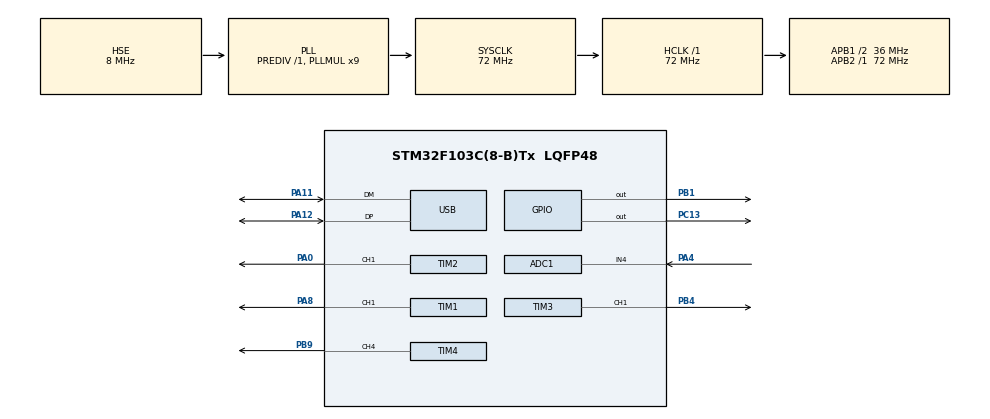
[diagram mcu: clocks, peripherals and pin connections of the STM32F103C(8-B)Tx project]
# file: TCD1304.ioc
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ADC1.Channel-0\#ChannelRegularConversion=ADC_CHANNEL_4
ADC1.ExternalTrigConv=ADC_EXTERNALTRIGCONV_T4_CC4
ADC1.NbrOfConversion=1
ADC1.NbrOfConversionFlag=1
ADC1.Rank-0\#ChannelRegularConversion=1
ADC1.SamplingTime-0\#ChannelRegularConversion=ADC_SAMPLETIME_1CYCLE_5
ADC1.master=1
Dma.ADC1.0.Direction=DMA_PERIPH_TO_MEMORY
Dma.ADC1.0.Instance=DMA1_Channel1
Dma.ADC1.0.MemDataAlignment=DMA_MDATAALIGN_HALFWORD
Dma.ADC1.0.MemInc=DMA_MINC_ENABLE
Dma.ADC1.0.Mode=DMA_CIRCULAR
Dma.ADC1.0.PeriphDataAlignment=DMA_PDATAALIGN_HALFWORD
Dma.ADC1.0.PeriphInc=DMA_PINC_DISABLE
Dma.ADC1.0.Priority=DMA_PRIORITY_LOW
Dma.Request0=ADC1
Mcu.Family=STM32F1
Mcu.Name=STM32F103C(8-B)Tx
Mcu.Package=LQFP48
NVIC.DMA1_Channel1_IRQn=true\:0\:0\:false\:false\:true\:false\:true\:true
NVIC.PriorityGroup=NVIC_PRIORITYGROUP_4
NVIC.USB_LP_CAN1_RX0_IRQn=true\:0\:0\:false\:false\:true\:false\:true\:true
PA0-WKUP.Signal=S_TIM2_CH1_ETR
PA11.Mode=Device
PA11.Signal=USB_DM
PA12.Mode=Device
PA12.Signal=USB_DP
PA4.Signal=ADCx_IN4
PA8.Signal=S_TIM1_CH1
PB1.Signal=GPIO_Output
PB4.Signal=S_TIM3_CH1
PB9.Signal=S_TIM4_CH4
PC13-TAMPER-RTC.Signal=GPIO_Output
PD0-OSC_IN.Mode=HSE-External-Oscillator
PD0-OSC_IN.Signal=RCC_OSC_IN
PD1-OSC_OUT.Mode=HSE-External-Oscillator
PD1-OSC_OUT.Signal=RCC_OSC_OUT
ProjectManager.HeapSize=0x200
ProjectManager.StackSize=0x400
ProjectManager.TargetToolchain=STM32CubeIDE
RCC.ADCPresc=RCC_ADCPCLK2_DIV6
RCC.AHBFreq_Value=72000000
RCC.APB1CLKDivider=RCC_HCLK_DIV2
RCC.APB1Freq_Value=36000000
RCC.APB1TimFreq_Value=72000000
RCC.APB2Freq_Value=72000000
RCC.APB2TimFreq_Value=72000000
RCC.HCLKFreq_Value=72000000
RCC.PLLMUL=RCC_PLL_MUL9
RCC.SYSCLKFreq_VALUE=72000000
RCC.SYSCLKSource=RCC_SYSCLKSOURCE_PLLCLK
RCC.USBFreq_Value=48000000
RCC.USBPrescaler=RCC_USBCLKSOURCE_PLL_DIV1_5
SH.ADCx_IN4.0=ADC1_IN4,IN4
SH.S_TIM1_CH1.0=TIM1_CH1,PWM Generation1 CH1
SH.S_TIM2_CH1_ETR.0=TIM2_CH1,PWM Generation1 CH1
SH.S_TIM3_CH1.0=TIM3_CH1,PWM Generation1 CH1
SH.S_TIM4_CH4.0=TIM4_CH4,PWM Generation4 CH4
TIM1.Channel-PWM\ Generation1\ CH1=TIM_CHANNEL_1
TIM1.Channel-PWM\ Generation2\ No\ Output=TIM_CHANNEL_2
TIM1.OCMode_PWM-PWM\ Generation2\ No\ Output=TIM_OCMODE_PWM1
TIM1.OCPolarity_2=TIM_OCPOLARITY_LOW
TIM1.Period=57600-1
TIM1.Prescaler=10-1
TIM1.Pulse-PWM\ Generation1\ CH1=72
TIM1.TIM_MasterOutputTrigger=TIM_TRGO_OC2REF
TIM2.Channel-PWM\ Generation1\ CH1=TIM_CHANNEL_1
TIM2.OCPolarity_1=TIM_OCPOLARITY_LOW
TIM2.Period=65535
TIM2.Pulse-PWM\ Generation1\ CH1=0
TIM2.TIM_MasterOutputTrigger=TIM_TRGO_OC2REF
TIM3.Channel-PWM\ Generation1\ CH1=TIM_CHANNEL_1
TIM3.Period=36-1
TIM3.Pulse-PWM\ Generation1\ CH1=18
TIM4.Channel-PWM\ Generation4\ CH4=TIM_CHANNEL_4
TIM4.Period=144-1
TIM4.Pulse-PWM\ Generation4\ CH4=1
USB_DEVICE.CLASS_NAME_FS=CDC
USB_DEVICE.VirtualMode=Cdc
USB_DEVICE.VirtualModeFS=Cdc_FS
VP_SYS_VS_ND.Mode=No_Debug
VP_TIM1_VS_ClockSourceINT.Mode=Internal
VP_TIM1_VS_no_output2.Mode=PWM Generation2 No Output
VP_TIM2_VS_ClockSourceINT.Mode=Internal
VP_TIM3_VS_ClockSourceINT.Mode=Internal
VP_TIM4_VS_ClockSourceINT.Mode=Internal
VP_TIM4_VS_ClockSourceITR.Mode=TriggerSource_ITR0
VP_TIM4_VS_ControllerModeGated.Mode=Gated Mode
VP_USB_DEVICE_VS_USB_DEVICE_CDC_FS.Mode=CDC_FS
board=custom

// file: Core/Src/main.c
/* USER CODE BEGIN Header */
/**
  ******************************************************************************
  * @file           : main.c
  * @brief          : Main program body
  ******************************************************************************
  * @attention
  *
  * Copyright (c) 2026 STMicroelectronics.
  * All rights reserved.
  *
  * This software is licensed under terms that can be found in the LICENSE file
  * in the root directory of this software component.
  * If no LICENSE file comes with this software, it is provided AS-IS.
  *
  ******************************************************************************
  */
/* USER CODE END Header */
#include "main.h"
#include "usb_device.h"

/* USER CODE BEGIN Includes */
#include "usbd_cdc_if.h"
/* USER CODE END Includes */

/* USER CODE BEGIN PD */
#define TIM_FREQ		72000000

/*Integration Times*/
//#define T_INT_20US
//#define T_INT_100US
//#define T_INT_500US
//#define T_INT_1MS
//#define T_INT_2MS
#define T_INT_4MS
//#define T_INT_5MS
//#define T_INT_10MS

#define CCD_PIXEL_COUNT	4000
/* USER CODE END PD */

ADC_HandleTypeDef hadc1;
DMA_HandleTypeDef hdma_adc1;

TIM_HandleTypeDef htim1;
TIM_HandleTypeDef htim2;
TIM_HandleTypeDef htim3;
TIM_HandleTypeDef htim4;

/* USER CODE BEGIN PV */
uint16_t ADC_Raw[CCD_PIXEL_COUNT];
uint8_t startByte = 'S';
uint8_t stopByte = 'F';
volatile uint8_t data_ready = 0;						//Flag to be set after all pixels are converted
uint16_t bytesToSend = CCD_PIXEL_COUNT * 2;
uint8_t *dataPtr = (uint8_t*)ADC_Raw;
/* USER CODE END PV */

void SystemClock_Config(void);
static void MX_GPIO_Init(void);
static void MX_DMA_Init(void);
static void MX_ADC1_Init(void);
static void MX_TIM1_Init(void);
static void MX_TIM2_Init(void);
static void MX_TIM3_Init(void);
static void MX_TIM4_Init(void);

/* USER CODE BEGIN 0 */
void HAL_ADC_ConvCpltCallback(ADC_HandleTypeDef* hadc){
	data_ready = 1;
	HAL_GPIO_TogglePin(GPIOB, GPIO_PIN_1);
}
/* USER CODE END 0 */

int main(void)
{

  /* MCU Configuration--------------------------------------------------------*/

  /* Reset of all peripherals, Initializes the Flash interface and the Systick. */
  HAL_Init();

  /* Configure the system clock */
  SystemClock_Config();

  /* Initialize all configured peripherals */
  MX_GPIO_Init();
  MX_DMA_Init();
  MX_ADC1_Init();
  MX_TIM1_Init();
  MX_TIM2_Init();
  MX_TIM3_Init();
  MX_USB_DEVICE_Init();
  MX_TIM4_Init();
  /* USER CODE BEGIN 2 */

  /*Integration times*/
#ifdef T_INT_20US
	  TIM2->ARR = TIM_FREQ / 100000 / (TIM2->PSC + 1) * 2 - 1;
	  TIM2->CCR1 = (TIM2->ARR + 1) / 5;							//288
#endif

#ifdef T_INT_100US
  TIM2->ARR = TIM_FREQ / 10000 / (TIM2->PSC + 1) - 1;
  TIM2->CCR1 = (TIM2->ARR + 1) / 25;							//288
#endif

#ifdef T_INT_500US
  TIM2->ARR = TIM_FREQ / 10000 / (TIM2->PSC + 1) * 5 - 1;		//36000-1
  TIM2->CCR1 = (TIM2->ARR + 1) / 125;							//288
#endif

#ifdef T_INT_1MS
  TIM2->PSC = 1;											    //2 - 1
  TIM2->ARR = TIM_FREQ / 1000 / (TIM2->PSC + 1) - 1;			//36000 - 1
  TIM2->CCR1 = (TIM2->ARR + 1) / 250;
  TIM2->CCR2 = 336;
  TIM2->EGR |= TIM_EGR_UG;										//Timer Update
#endif

#ifdef T_INT_2MS
  TIM2->PSC = 2;											    //3 - 1
  TIM2->ARR = 47999;											//48000 - 1
  TIM2->CCR1 = 96;
  TIM2->CCR2 = 224;
  TIM2->EGR |= TIM_EGR_UG;										//Timer Update
#endif

#ifdef T_INT_4MS
  //Configure MCLK (0.8 Mhz)
  TIM3->ARR = 89;												//90 - 1
  TIM3->CCR1 = 45;												//50% duty cycle

  //Configure ICG (20 ms period)
  TIM1->PSC = 23;												//24 - 1
  TIM1->ARR = 59999;											//60000 - 1
  TIM1->CCR1 = 30;												//10 us
  TIM1->CCR2 = 30;												//Gates TIM4
  TIM1->EGR |= TIM_EGR_UG;

  //Configure SH (4 ms period)
  TIM2->PSC = 8;											    //9 - 1
  TIM2->ARR = 31999;											//32000 - 1
  TIM2->CCR1 = 32;												//4 us
  TIM2->EGR |= TIM_EGR_UG;										//Timer Update
  TIM2->CNT = 31999 - 4;

  //Configure ADC Trigger Timer (Data rate = 0.2 Mhz)
  TIM4->ARR = 359;												//360 - 1
  TIM4->CCR4 = 180;
#endif

#ifdef T_INT_5MS
  //Configure MCLK (0.8 Mhz)
  TIM3->ARR = 89;												//90 - 1
  TIM3->CCR1 = 45;												//50% duty cycle

  //Configure ICG (20 ms period)
  TIM1->PSC = 23;												//24 - 1
  TIM1->ARR = 59999;											//60000 - 1
  TIM1->CCR1 = 30;												//10 us
  TIM1->CCR2 = 2;												//667 ns delay between ICG and SH
  TIM1->EGR |= TIM_EGR_UG;

  //Configure SH (5 ms)
  TIM2->PSC = 5;												//6 - 1
  TIM2->ARR = 59999;											//60000 - 1
  TIM2->CCR1 = 48;												//4 us
  TIM2->CCR2 = 86;
  TIM2->EGR |= TIM_EGR_UG;										//Timer Update

  //Configure ADC Trigger Timer (Data rate = 0.2 Mhz)
  TIM4->ARR = 359;												//360 - 1
  TIM4->CCR4 = 180;
#endif

#ifdef T_INT_10MS
  //Configure MCLK (0.8 Mhz)
  TIM3->ARR = 89;												//90 - 1
  TIM3->CCR1 = 45;												//50% duty cycle

  //Configure ICG (20 ms period)
  TIM1->PSC = 23;												//24 - 1
  TIM1->ARR = 59999;											//60000 - 1
  TIM1->CCR1 = 30;												//10 us
  TIM1->CCR2 = 2;												//667 ns delay between ICG and SH
  TIM1->EGR |= TIM_EGR_UG;

  //Configure SH (10 ms)
  TIM2->PSC = 11;												//12 - 1
  TIM2->ARR = 59999;											//60000 - 1
  TIM2->CCR1 = 24;												//4 us
  TIM2->CCR2 = 43;												//TRIG for TIM4
  TIM2->EGR |= TIM_EGR_UG;										//Timer Update

  //Configure ADC Trigger Timer (Data rate = 0.2 Mhz)
  TIM4->ARR = 359;												//360 - 1
  TIM4->CCR4 = 180;
#endif

  HAL_ADC_Start_DMA(&hadc1, (uint32_t*)ADC_Raw, CCD_PIXEL_COUNT);

  HAL_TIM_PWM_Start(&htim4, TIM_CHANNEL_4);		//ADC

  HAL_TIM_PWM_Start(&htim3, TIM_CHANNEL_1);		//MCLK

  HAL_TIM_PWM_Start(&htim1, TIM_CHANNEL_1);		//ICG

  HAL_TIM_PWM_Start(&htim2, TIM_CHANNEL_1);		//SH

  HAL_TIM_PWM_Start(&htim1, TIM_CHANNEL_2);		//GATES TIM4

  /* USER CODE END 2 */

  /* Infinite loop */
  while (1)
  {

    /* USER CODE BEGIN 3 */
	  if(data_ready){

		  bytesToSend = CCD_PIXEL_COUNT * 2;
		  dataPtr = (uint8_t*)ADC_Raw;

		  while(CDC_Transmit_FS(&startByte, 1) == USBD_BUSY);

		  while(bytesToSend > CDC_DATA_FS_MAX_PACKET_SIZE) {
			  while(CDC_Transmit_FS(dataPtr, CDC_DATA_FS_MAX_PACKET_SIZE) == USBD_BUSY);
			  bytesToSend -= CDC_DATA_FS_MAX_PACKET_SIZE;
			  dataPtr += CDC_DATA_FS_MAX_PACKET_SIZE;
		  }

		  if (bytesToSend) {
			  while(CDC_Transmit_FS(dataPtr, bytesToSend) == USBD_BUSY);
		  }

		  while(CDC_Transmit_FS(&stopByte, 1) == USBD_BUSY);

		  data_ready = 0;
	  }
  }
  /* USER CODE END 3 */
}

void SystemClock_Config(void)
{
  RCC_OscInitTypeDef RCC_OscInitStruct = {0};
  RCC_ClkInitTypeDef RCC_ClkInitStruct = {0};
  RCC_PeriphCLKInitTypeDef PeriphClkInit = {0};

  /** Initializes the RCC Oscillators according to the specified parameters
  * in the RCC_OscInitTypeDef structure.
  */
  RCC_OscInitStruct.OscillatorType = RCC_OSCILLATORTYPE_HSE;
  RCC_OscInitStruct.HSEState = RCC_HSE_ON;
  RCC_OscInitStruct.HSEPredivValue = RCC_HSE_PREDIV_DIV1;
  RCC_OscInitStruct.HSIState = RCC_HSI_ON;
  RCC_OscInitStruct.PLL.PLLState = RCC_PLL_ON;
  RCC_OscInitStruct.PLL.PLLSource = RCC_PLLSOURCE_HSE;
  RCC_OscInitStruct.PLL.PLLMUL = RCC_PLL_MUL9;
  if (HAL_RCC_OscConfig(&RCC_OscInitStruct) != HAL_OK)
  {
    Error_Handler();
  }

  /** Initializes the CPU, AHB and APB buses clocks
  */
  RCC_ClkInitStruct.ClockType = RCC_CLOCKTYPE_HCLK|RCC_CLOCKTYPE_SYSCLK
                              |RCC_CLOCKTYPE_PCLK1|RCC_CLOCKTYPE_PCLK2;
  RCC_ClkInitStruct.SYSCLKSource = RCC_SYSCLKSOURCE_PLLCLK;
  RCC_ClkInitStruct.AHBCLKDivider = RCC_SYSCLK_DIV1;
  RCC_ClkInitStruct.APB1CLKDivider = RCC_HCLK_DIV2;
  RCC_ClkInitStruct.APB2CLKDivider = RCC_HCLK_DIV1;

  if (HAL_RCC_ClockConfig(&RCC_ClkInitStruct, FLASH_LATENCY_2) != HAL_OK)
  {
    Error_Handler();
  }
  PeriphClkInit.PeriphClockSelection = RCC_PERIPHCLK_ADC|RCC_PERIPHCLK_USB;
  PeriphClkInit.AdcClockSelection = RCC_ADCPCLK2_DIV6;
  PeriphClkInit.UsbClockSelection = RCC_USBCLKSOURCE_PLL_DIV1_5;
  if (HAL_RCCEx_PeriphCLKConfig(&PeriphClkInit) != HAL_OK)
  {
    Error_Handler();
  }
}

static void MX_ADC1_Init(void)
{

  ADC_ChannelConfTypeDef sConfig = {0};

  /** Common config
  */
  hadc1.Instance = ADC1;
  hadc1.Init.ScanConvMode = ADC_SCAN_DISABLE;
  hadc1.Init.ContinuousConvMode = DISABLE;
  hadc1.Init.DiscontinuousConvMode = DISABLE;
  hadc1.Init.ExternalTrigConv = ADC_EXTERNALTRIGCONV_T4_CC4;
  hadc1.Init.DataAlign = ADC_DATAALIGN_RIGHT;
  hadc1.Init.NbrOfConversion = 1;
  if (HAL_ADC_Init(&hadc1) != HAL_OK)
  {
    Error_Handler();
  }

  /** Configure Regular Channel
  */
  sConfig.Channel = ADC_CHANNEL_4;
  sConfig.Rank = ADC_REGULAR_RANK_1;
  sConfig.SamplingTime = ADC_SAMPLETIME_1CYCLE_5;
  if (HAL_ADC_ConfigChannel(&hadc1, &sConfig) != HAL_OK)
  {
    Error_Handler();
  }

}

static void MX_TIM1_Init(void)
{

  TIM_ClockConfigTypeDef sClockSourceConfig = {0};
  TIM_MasterConfigTypeDef sMasterConfig = {0};
  TIM_OC_InitTypeDef sConfigOC = {0};
  TIM_BreakDeadTimeConfigTypeDef sBreakDeadTimeConfig = {0};

  htim1.Instance = TIM1;
  htim1.Init.Prescaler = 10-1;
  htim1.Init.CounterMode = TIM_COUNTERMODE_UP;
  htim1.Init.Period = 57600-1;
  htim1.Init.ClockDivision = TIM_CLOCKDIVISION_DIV1;
  htim1.Init.RepetitionCounter = 0;
  htim1.Init.AutoReloadPreload = TIM_AUTORELOAD_PRELOAD_DISABLE;
  if (HAL_TIM_Base_Init(&htim1) != HAL_OK)
  {
    Error_Handler();
  }
  sClockSourceConfig.ClockSource = TIM_CLOCKSOURCE_INTERNAL;
  if (HAL_TIM_ConfigClockSource(&htim1, &sClockSourceConfig) != HAL_OK)
  {
    Error_Handler();
  }
  if (HAL_TIM_PWM_Init(&htim1) != HAL_OK)
  {
    Error_Handler();
  }
  sMasterConfig.MasterOutputTrigger = TIM_TRGO_OC2REF;
  sMasterConfig.MasterSlaveMode = TIM_MASTERSLAVEMODE_DISABLE;
  if (HAL_TIMEx_MasterConfigSynchronization(&htim1, &sMasterConfig) != HAL_OK)
  {
    Error_Handler();
  }
  sConfigOC.OCMode = TIM_OCMODE_PWM1;
  sConfigOC.Pulse = 72;
  sConfigOC.OCPolarity = TIM_OCPOLARITY_HIGH;
  sConfigOC.OCNPolarity = TIM_OCNPOLARITY_HIGH;
  sConfigOC.OCFastMode = TIM_OCFAST_DISABLE;
  sConfigOC.OCIdleState = TIM_OCIDLESTATE_RESET;
  sConfigOC.OCNIdleState = TIM_OCNIDLESTATE_RESET;
  if (HAL_TIM_PWM_ConfigChannel(&htim1, &sConfigOC, TIM_CHANNEL_1) != HAL_OK)
  {
    Error_Handler();
  }
  sConfigOC.Pulse = 0;
  sConfigOC.OCPolarity = TIM_OCPOLARITY_LOW;
  if (HAL_TIM_PWM_ConfigChannel(&htim1, &sConfigOC, TIM_CHANNEL_2) != HAL_OK)
  {
    Error_Handler();
  }
  sBreakDeadTimeConfig.OffStateRunMode = TIM_OSSR_DISABLE;
  sBreakDeadTimeConfig.OffStateIDLEMode = TIM_OSSI_DISABLE;
  sBreakDeadTimeConfig.LockLevel = TIM_LOCKLEVEL_OFF;
  sBreakDeadTimeConfig.DeadTime = 0;
  sBreakDeadTimeConfig.BreakState = TIM_BREAK_DISABLE;
  sBreakDeadTimeConfig.BreakPolarity = TIM_BREAKPOLARITY_HIGH;
  sBreakDeadTimeConfig.AutomaticOutput = TIM_AUTOMATICOUTPUT_DISABLE;
  if (HAL_TIMEx_ConfigBreakDeadTime(&htim1, &sBreakDeadTimeConfig) != HAL_OK)
  {
    Error_Handler();
  }
  HAL_TIM_MspPostInit(&htim1);

}

static void MX_TIM2_Init(void)
{

  TIM_ClockConfigTypeDef sClockSourceConfig = {0};
  TIM_MasterConfigTypeDef sMasterConfig = {0};
  TIM_OC_InitTypeDef sConfigOC = {0};

  htim2.Instance = TIM2;
  htim2.Init.Prescaler = 0;
  htim2.Init.CounterMode = TIM_COUNTERMODE_UP;
  htim2.Init.Period = 65535;
  htim2.Init.ClockDivision = TIM_CLOCKDIVISION_DIV1;
  htim2.Init.AutoReloadPreload = TIM_AUTORELOAD_PRELOAD_DISABLE;
  if (HAL_TIM_Base_Init(&htim2) != HAL_OK)
  {
    Error_Handler();
  }
  sClockSourceConfig.ClockSource = TIM_CLOCKSOURCE_INTERNAL;
  if (HAL_TIM_ConfigClockSource(&htim2, &sClockSourceConfig) != HAL_OK)
  {
    Error_Handler();
  }
  if (HAL_TIM_PWM_Init(&htim2) != HAL_OK)
  {
    Error_Handler();
  }
  sMasterConfig.MasterOutputTrigger = TIM_TRGO_OC2REF;
  sMasterConfig.MasterSlaveMode = TIM_MASTERSLAVEMODE_DISABLE;
  if (HAL_TIMEx_MasterConfigSynchronization(&htim2, &sMasterConfig) != HAL_OK)
  {
    Error_Handler();
  }
  sConfigOC.OCMode = TIM_OCMODE_PWM1;
  sConfigOC.Pulse = 0;
  sConfigOC.OCPolarity = TIM_OCPOLARITY_LOW;
  sConfigOC.OCFastMode = TIM_OCFAST_DISABLE;
  if (HAL_TIM_PWM_ConfigChannel(&htim2, &sConfigOC, TIM_CHANNEL_1) != HAL_OK)
  {
    Error_Handler();
  }
  HAL_TIM_MspPostInit(&htim2);

}

static void MX_TIM3_Init(void)
{

  TIM_ClockConfigTypeDef sClockSourceConfig = {0};
  TIM_MasterConfigTypeDef sMasterConfig = {0};
  TIM_OC_InitTypeDef sConfigOC = {0};

  htim3.Instance = TIM3;
  htim3.Init.Prescaler = 0;
  htim3.Init.CounterMode = TIM_COUNTERMODE_UP;
  htim3.Init.Period = 36-1;
  htim3.Init.ClockDivision = TIM_CLOCKDIVISION_DIV1;
  htim3.Init.AutoReloadPreload = TIM_AUTORELOAD_PRELOAD_DISABLE;
  if (HAL_TIM_Base_Init(&htim3) != HAL_OK)
  {
    Error_Handler();
  }
  sClockSourceConfig.ClockSource = TIM_CLOCKSOURCE_INTERNAL;
  if (HAL_TIM_ConfigClockSource(&htim3, &sClockSourceConfig) != HAL_OK)
  {
    Error_Handler();
  }
  if (HAL_TIM_PWM_Init(&htim3) != HAL_OK)
  {
    Error_Handler();
  }
  sMasterConfig.MasterOutputTrigger = TIM_TRGO_RESET;
  sMasterConfig.MasterSlaveMode = TIM_MASTERSLAVEMODE_DISABLE;
  if (HAL_TIMEx_MasterConfigSynchronization(&htim3, &sMasterConfig) != HAL_OK)
  {
    Error_Handler();
  }
  sConfigOC.OCMode = TIM_OCMODE_PWM1;
  sConfigOC.Pulse = 18;
  sConfigOC.OCPolarity = TIM_OCPOLARITY_HIGH;
  sConfigOC.OCFastMode = TIM_OCFAST_DISABLE;
  if (HAL_TIM_PWM_ConfigChannel(&htim3, &sConfigOC, TIM_CHANNEL_1) != HAL_OK)
  {
    Error_Handler();
  }
  HAL_TIM_MspPostInit(&htim3);

}

static void MX_TIM4_Init(void)
{

  TIM_ClockConfigTypeDef sClockSourceConfig = {0};
  TIM_SlaveConfigTypeDef sSlaveConfig = {0};
  TIM_MasterConfigTypeDef sMasterConfig = {0};
  TIM_OC_InitTypeDef sConfigOC = {0};

  htim4.Instance = TIM4;
  htim4.Init.Prescaler = 0;
  htim4.Init.CounterMode = TIM_COUNTERMODE_UP;
  htim4.Init.Period = 144-1;
  htim4.Init.ClockDivision = TIM_CLOCKDIVISION_DIV1;
  htim4.Init.AutoReloadPreload = TIM_AUTORELOAD_PRELOAD_DISABLE;
  if (HAL_TIM_Base_Init(&htim4) != HAL_OK)
  {
    Error_Handler();
  }
  sClockSourceConfig.ClockSource = TIM_CLOCKSOURCE_INTERNAL;
  if (HAL_TIM_ConfigClockSource(&htim4, &sClockSourceConfig) != HAL_OK)
  {
    Error_Handler();
  }
  if (HAL_TIM_PWM_Init(&htim4) != HAL_OK)
  {
    Error_Handler();
  }
  sSlaveConfig.SlaveMode = TIM_SLAVEMODE_GATED;
  sSlaveConfig.InputTrigger = TIM_TS_ITR0;
  if (HAL_TIM_SlaveConfigSynchro(&htim4, &sSlaveConfig) != HAL_OK)
  {
    Error_Handler();
  }
  sMasterConfig.MasterOutputTrigger = TIM_TRGO_RESET;
  sMasterConfig.MasterSlaveMode = TIM_MASTERSLAVEMODE_DISABLE;
  if (HAL_TIMEx_MasterConfigSynchronization(&htim4, &sMasterConfig) != HAL_OK)
  {
    Error_Handler();
  }
  sConfigOC.OCMode = TIM_OCMODE_PWM1;
  sConfigOC.Pulse = 1;
  sConfigOC.OCPolarity = TIM_OCPOLARITY_HIGH;
  sConfigOC.OCFastMode = TIM_OCFAST_DISABLE;
  if (HAL_TIM_PWM_ConfigChannel(&htim4, &sConfigOC, TIM_CHANNEL_4) != HAL_OK)
  {
    Error_Handler();
  }
  HAL_TIM_MspPostInit(&htim4);

}

static void MX_DMA_Init(void)
{

  /* DMA controller clock enable */
  __HAL_RCC_DMA1_CLK_ENABLE();

  /* DMA interrupt init */
  /* DMA1_Channel1_IRQn interrupt configuration */
  HAL_NVIC_SetPriority(DMA1_Channel1_IRQn, 0, 0);
  HAL_NVIC_EnableIRQ(DMA1_Channel1_IRQn);

}

static void MX_GPIO_Init(void)
{
  GPIO_InitTypeDef GPIO_InitStruct = {0};

  /* GPIO Ports Clock Enable */
  __HAL_RCC_GPIOC_CLK_ENABLE();
  __HAL_RCC_GPIOD_CLK_ENABLE();
  __HAL_RCC_GPIOA_CLK_ENABLE();
  __HAL_RCC_GPIOB_CLK_ENABLE();

  /*Configure GPIO pin Output Level */
  HAL_GPIO_WritePin(GPIOC, GPIO_PIN_13, GPIO_PIN_RESET);

  /*Configure GPIO pin Output Level */
  HAL_GPIO_WritePin(GPIOB, GPIO_PIN_1, GPIO_PIN_RESET);

  /*Configure GPIO pin : PC13 */
  GPIO_InitStruct.Pin = GPIO_PIN_13;
  GPIO_InitStruct.Mode = GPIO_MODE_OUTPUT_PP;
  GPIO_InitStruct.Pull = GPIO_NOPULL;
  GPIO_InitStruct.Speed = GPIO_SPEED_FREQ_LOW;
  HAL_GPIO_Init(GPIOC, &GPIO_InitStruct);

  /*Configure GPIO pin : PB1 */
  GPIO_InitStruct.Pin = GPIO_PIN_1;
  GPIO_InitStruct.Mode = GPIO_MODE_OUTPUT_PP;
  GPIO_InitStruct.Pull = GPIO_NOPULL;
  GPIO_InitStruct.Speed = GPIO_SPEED_FREQ_LOW;
  HAL_GPIO_Init(GPIOB, &GPIO_InitStruct);

}

void Error_Handler(void)
{
  __disable_irq();
  while (1)
  {
  }
}
